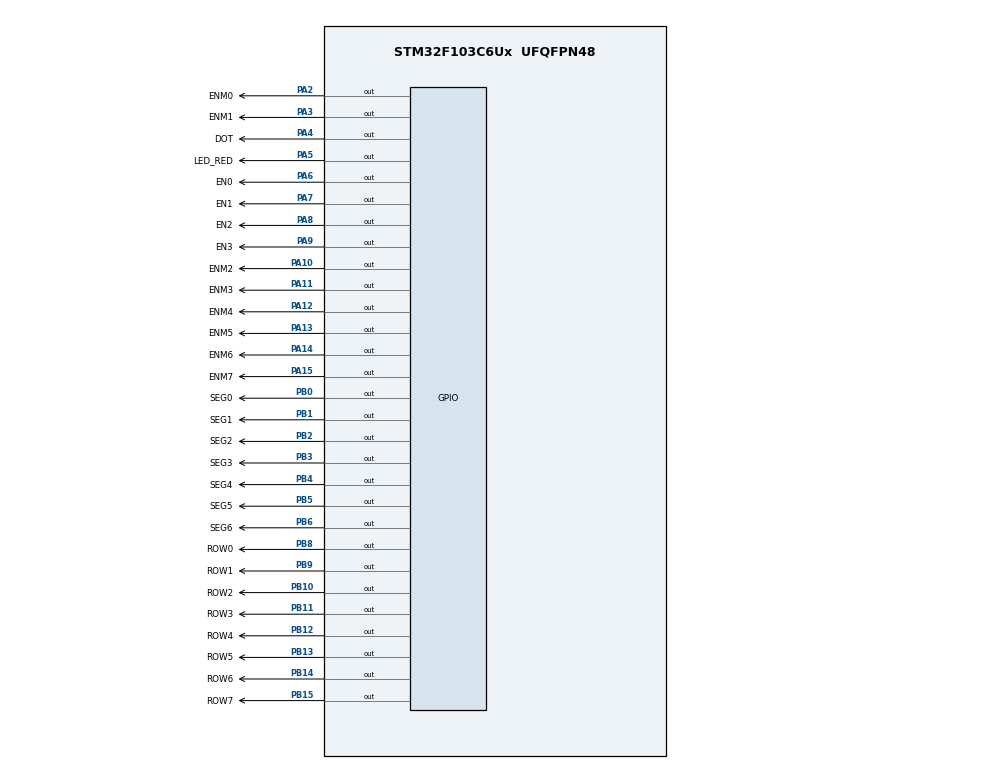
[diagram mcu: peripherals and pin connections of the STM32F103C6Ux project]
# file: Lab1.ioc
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Mcu.Family=STM32F1
Mcu.Name=STM32F103C6Ux
Mcu.Package=UFQFPN48
NVIC.PriorityGroup=NVIC_PRIORITYGROUP_4
NVIC.TIM2_IRQn=true\:0\:0\:false\:false\:true\:true\:true
PA10.GPIO_Label=ENM2
PA10.Signal=GPIO_Output
PA11.GPIO_Label=ENM3
PA11.Signal=GPIO_Output
PA12.GPIO_Label=ENM4
PA12.Signal=GPIO_Output
PA13.GPIO_Label=ENM5
PA13.Signal=GPIO_Output
PA14.GPIO_Label=ENM6
PA14.Signal=GPIO_Output
PA15.GPIO_Label=ENM7
PA15.Signal=GPIO_Output
PA2.GPIO_Label=ENM0
PA2.Signal=GPIO_Output
PA3.GPIO_Label=ENM1
PA3.Signal=GPIO_Output
PA4.GPIO_Label=DOT
PA4.Signal=GPIO_Output
PA5.GPIO_Label=LED_RED
PA5.Signal=GPIO_Output
PA6.GPIO_Label=EN0
PA6.Signal=GPIO_Output
PA7.GPIO_Label=EN1
PA7.Signal=GPIO_Output
PA8.GPIO_Label=EN2
PA8.Signal=GPIO_Output
PA9.GPIO_Label=EN3
PA9.Signal=GPIO_Output
PB0.GPIO_Label=SEG0
PB0.Signal=GPIO_Output
PB1.GPIO_Label=SEG1
PB1.Signal=GPIO_Output
PB10.GPIO_Label=ROW2
PB10.Signal=GPIO_Output
PB11.GPIO_Label=ROW3
PB11.Signal=GPIO_Output
PB12.GPIO_Label=ROW4
PB12.Signal=GPIO_Output
PB13.GPIO_Label=ROW5
PB13.Signal=GPIO_Output
PB14.GPIO_Label=ROW6
PB14.Signal=GPIO_Output
PB15.GPIO_Label=ROW7
PB15.Signal=GPIO_Output
PB2.GPIO_Label=SEG2
PB2.Signal=GPIO_Output
PB3.GPIO_Label=SEG3
PB3.Signal=GPIO_Output
PB4.GPIO_Label=SEG4
PB4.Signal=GPIO_Output
PB5.GPIO_Label=SEG5
PB5.Signal=GPIO_Output
PB6.GPIO_Label=SEG6
PB6.Signal=GPIO_Output
PB8.GPIO_Label=ROW0
PB8.Signal=GPIO_Output
PB9.GPIO_Label=ROW1
PB9.Signal=GPIO_Output
ProjectManager.HeapSize=0x200
ProjectManager.StackSize=0x400
ProjectManager.TargetToolchain=STM32CubeIDE
RCC.AHBFreq_Value=8000000
RCC.APB1Freq_Value=8000000
RCC.APB1TimFreq_Value=8000000
RCC.APB2Freq_Value=8000000
RCC.APB2TimFreq_Value=8000000
RCC.HCLKFreq_Value=8000000
TIM2.Period=9
TIM2.Prescaler=7999
VP_SYS_VS_ND.Mode=No_Debug
VP_TIM2_VS_ClockSourceINT.Mode=Internal
board=custom

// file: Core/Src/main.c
/* USER CODE BEGIN Header */
/**
  ******************************************************************************
  * @file           : main.c
  * @brief          : Main program body
  ******************************************************************************
  * @attention
  *
  * <h2><center>&copy; Copyright (c) 2023 STMicroelectronics.
  * All rights reserved.</center></h2>
  *
  * This software component is licensed by ST under BSD 3-Clause license,
  * the "License"; You may not use this file except in compliance with the
  * License. You may obtain a copy of the License at:
  *                        opensource.org/licenses/BSD-3-Clause
  *
  ******************************************************************************
  */
/* USER CODE END Header */
#include "main.h"

/* USER CODE BEGIN Includes */
#include "display7SEG.h"
#include "timerController.h"
/* USER CODE END Includes */

TIM_HandleTypeDef htim2;

void SystemClock_Config(void);
static void MX_TIM2_Init(void);
static void MX_GPIO_Init(void);

int main(void)
{

  /* MCU Configuration--------------------------------------------------------*/

  /* Reset of all peripherals, Initializes the Flash interface and the Systick. */
  HAL_Init();

  /* Configure the system clock */
  SystemClock_Config();

  /* Initialize all configured peripherals */
  MX_TIM2_Init();
  MX_GPIO_Init();
  /* USER CODE BEGIN 2 */
  HAL_TIM_Base_Start_IT (& htim2 );
  /* USER CODE END 2 */

  /* Infinite loop */
  /* USER CODE BEGIN WHILE */
  setTimer1(2);
  setTimer2(3);
  setTimer3(5);
  setTimer4(7);
  setTimer5(11);
  setTimer6(13);
  HAL_GPIO_WritePin(EN0_GPIO_Port, EN0_Pin, SET);
  HAL_GPIO_WritePin(EN1_GPIO_Port, EN1_Pin, SET);
  HAL_GPIO_WritePin(EN2_GPIO_Port, EN2_Pin, SET);
  HAL_GPIO_WritePin(EN3_GPIO_Port, EN3_Pin, RESET);
  HAL_GPIO_WritePin(ENM0_GPIO_Port, ENM0_Pin, RESET);
  HAL_GPIO_WritePin(ENM1_GPIO_Port, ENM1_Pin, RESET);
  HAL_GPIO_WritePin(ENM2_GPIO_Port, ENM2_Pin, RESET);
  HAL_GPIO_WritePin(ENM3_GPIO_Port, ENM3_Pin, RESET);
  HAL_GPIO_WritePin(ENM4_GPIO_Port, ENM4_Pin, RESET);
  HAL_GPIO_WritePin(ENM5_GPIO_Port, ENM5_Pin, RESET);
  HAL_GPIO_WritePin(ENM6_GPIO_Port, ENM6_Pin, RESET);
  HAL_GPIO_WritePin(ENM7_GPIO_Port, ENM7_Pin, SET);
  while (1)
  {
	  if(timer1Flag==1){
		  //control LED RED & DOT
		  setTimer1(100);
		  HAL_GPIO_TogglePin(LED_RED_GPIO_Port, LED_RED_Pin);
		  HAL_GPIO_TogglePin(DOT_GPIO_Port, DOT_Pin);
	  }
	  if(timer2Flag==1){
		  //update 7seg LED
		  setTimer2(25);
		  index_led=index_led>=MAX_LED-1?0:index_led+1;
		  update7SEG(index_led);
	  }
	  if(timer3Flag==1){
		  //update clock buffer
		  setTimer3(100);
		  updateClockBuffer();
	  }
	  if(timer4Flag==1){
		  //update LED matrix
		  setTimer4(25);
		  index_led_matrix=index_led_matrix>=MAX_LED_MATRIX-1?0:index_led_matrix+1;
		  updateLEDMatrix(index_led_matrix);
	  }
	  if(timer5Flag==1){
		  //display LED matrix & 7seg LED
		  setTimer5(25);
		  displayAll();
	  }
	  if(timer6Flag==1){
		  setTimer6(200);
		  updateAnim();
	  }
    /* USER CODE END WHILE */

  }
}

void SystemClock_Config(void)
{
  RCC_OscInitTypeDef RCC_OscInitStruct = {0};
  RCC_ClkInitTypeDef RCC_ClkInitStruct = {0};

  /** Initializes the RCC Oscillators according to the specified parameters
  * in the RCC_OscInitTypeDef structure.
  */
  RCC_OscInitStruct.OscillatorType = RCC_OSCILLATORTYPE_HSI;
  RCC_OscInitStruct.HSIState = RCC_HSI_ON;
  RCC_OscInitStruct.HSICalibrationValue = RCC_HSICALIBRATION_DEFAULT;
  RCC_OscInitStruct.PLL.PLLState = RCC_PLL_NONE;
  if (HAL_RCC_OscConfig(&RCC_OscInitStruct) != HAL_OK)
  {
    Error_Handler();
  }
  /** Initializes the CPU, AHB and APB buses clocks
  */
  RCC_ClkInitStruct.ClockType = RCC_CLOCKTYPE_HCLK|RCC_CLOCKTYPE_SYSCLK
                              |RCC_CLOCKTYPE_PCLK1|RCC_CLOCKTYPE_PCLK2;
  RCC_ClkInitStruct.SYSCLKSource = RCC_SYSCLKSOURCE_HSI;
  RCC_ClkInitStruct.AHBCLKDivider = RCC_SYSCLK_DIV1;
  RCC_ClkInitStruct.APB1CLKDivider = RCC_HCLK_DIV1;
  RCC_ClkInitStruct.APB2CLKDivider = RCC_HCLK_DIV1;

  if (HAL_RCC_ClockConfig(&RCC_ClkInitStruct, FLASH_LATENCY_0) != HAL_OK)
  {
    Error_Handler();
  }
}

static void MX_TIM2_Init(void)
{

  TIM_ClockConfigTypeDef sClockSourceConfig = {0};
  TIM_MasterConfigTypeDef sMasterConfig = {0};

  htim2.Instance = TIM2;
  htim2.Init.Prescaler = 7999;
  htim2.Init.CounterMode = TIM_COUNTERMODE_UP;
  htim2.Init.Period = 9;
  htim2.Init.ClockDivision = TIM_CLOCKDIVISION_DIV1;
  htim2.Init.AutoReloadPreload = TIM_AUTORELOAD_PRELOAD_DISABLE;
  if (HAL_TIM_Base_Init(&htim2) != HAL_OK)
  {
    Error_Handler();
  }
  sClockSourceConfig.ClockSource = TIM_CLOCKSOURCE_INTERNAL;
  if (HAL_TIM_ConfigClockSource(&htim2, &sClockSourceConfig) != HAL_OK)
  {
    Error_Handler();
  }
  sMasterConfig.MasterOutputTrigger = TIM_TRGO_RESET;
  sMasterConfig.MasterSlaveMode = TIM_MASTERSLAVEMODE_DISABLE;
  if (HAL_TIMEx_MasterConfigSynchronization(&htim2, &sMasterConfig) != HAL_OK)
  {
    Error_Handler();
  }

}

static void MX_GPIO_Init(void)
{
  GPIO_InitTypeDef GPIO_InitStruct = {0};

  /* GPIO Ports Clock Enable */
  __HAL_RCC_GPIOA_CLK_ENABLE();
  __HAL_RCC_GPIOB_CLK_ENABLE();

  /*Configure GPIO pin Output Level */
  HAL_GPIO_WritePin(GPIOA, ENM0_Pin|ENM1_Pin|DOT_Pin|LED_RED_Pin
                          |EN0_Pin|EN1_Pin|EN2_Pin|EN3_Pin
                          |ENM2_Pin|ENM3_Pin|ENM4_Pin|ENM5_Pin
                          |ENM6_Pin|ENM7_Pin, GPIO_PIN_RESET);

  /*Configure GPIO pin Output Level */
  HAL_GPIO_WritePin(GPIOB, SEG0_Pin|SEG1_Pin|SEG2_Pin|ROW2_Pin
                          |ROW3_Pin|ROW4_Pin|ROW5_Pin|ROW6_Pin
                          |ROW7_Pin|SEG3_Pin|SEG4_Pin|SEG5_Pin
                          |SEG6_Pin|ROW0_Pin|ROW1_Pin, GPIO_PIN_RESET);

  /*Configure GPIO pins : ENM0_Pin ENM1_Pin DOT_Pin LED_RED_Pin
                           EN0_Pin EN1_Pin EN2_Pin EN3_Pin
                           ENM2_Pin ENM3_Pin ENM4_Pin ENM5_Pin
                           ENM6_Pin ENM7_Pin */
  GPIO_InitStruct.Pin = ENM0_Pin|ENM1_Pin|DOT_Pin|LED_RED_Pin
                          |EN0_Pin|EN1_Pin|EN2_Pin|EN3_Pin
                          |ENM2_Pin|ENM3_Pin|ENM4_Pin|ENM5_Pin
                          |ENM6_Pin|ENM7_Pin;
  GPIO_InitStruct.Mode = GPIO_MODE_OUTPUT_PP;
  GPIO_InitStruct.Pull = GPIO_NOPULL;
  GPIO_InitStruct.Speed = GPIO_SPEED_FREQ_LOW;
  HAL_GPIO_Init(GPIOA, &GPIO_InitStruct);

  /*Configure GPIO pins : SEG0_Pin SEG1_Pin SEG2_Pin ROW2_Pin
                           ROW3_Pin ROW4_Pin ROW5_Pin ROW6_Pin
                           ROW7_Pin SEG3_Pin SEG4_Pin SEG5_Pin
                           SEG6_Pin ROW0_Pin ROW1_Pin */
  GPIO_InitStruct.Pin = SEG0_Pin|SEG1_Pin|SEG2_Pin|ROW2_Pin
                          |ROW3_Pin|ROW4_Pin|ROW5_Pin|ROW6_Pin
                          |ROW7_Pin|SEG3_Pin|SEG4_Pin|SEG5_Pin
                          |SEG6_Pin|ROW0_Pin|ROW1_Pin;
  GPIO_InitStruct.Mode = GPIO_MODE_OUTPUT_PP;
  GPIO_InitStruct.Pull = GPIO_NOPULL;
  GPIO_InitStruct.Speed = GPIO_SPEED_FREQ_LOW;
  HAL_GPIO_Init(GPIOB, &GPIO_InitStruct);

}

/* USER CODE BEGIN 4 */
void HAL_TIM_PeriodElapsedCallback(TIM_HandleTypeDef *htim){
	timerRun();
}
/* USER CODE END 4 */

void Error_Handler(void)
{
  __disable_irq();
  while (1)
  {
  }
}

/************************ (C) COPYRIGHT STMicroelectronics *****END OF FILE****/
